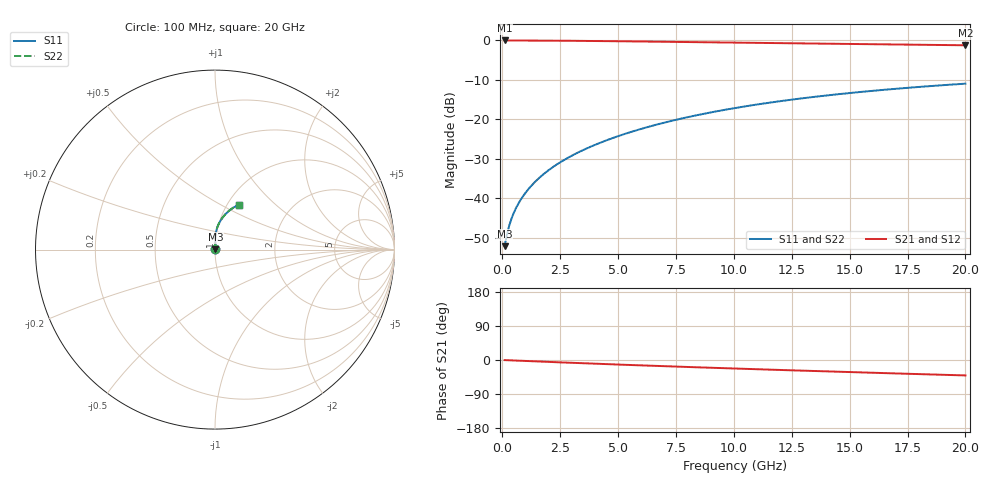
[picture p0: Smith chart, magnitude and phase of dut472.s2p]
! Touchstone file exported from HFSS 2024.1.0
!  File:  C:/UserFiles/LocalFiles/RDL_TSV_Batchsim/temp_RDL_bottom_472_1779686042.aedt
!  Generated:  01:16:21 PM May 25, 2026
!  Design:  RDL_bottom
!  Project:  temp_RDL_bottom_472_1779686042
!  Setup:  Setup1
!  Solution:  Sweep
! Variables:
!  dtsv = 10.80580581um
!  hbump = 3um
!  htsv = 99.78um
!  ldown = 641.67um
!  lrdl = 100um
!  p = 40
!  p1 = 45.92um
!  rhole = 1um
!  t = 450um
!  tdown = 4.73um
!  trdl = 3.915915916um
!  wdown = 26.33um
!  wrdl = 20um
# GHz S MA R 50.000000
! Terminal data exported
! Port[1] = RDL1_T1
! Port[2] = RDL1_T2
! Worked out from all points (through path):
!   200 points, 100 MHz to 20 GHz, reference 50 ohm
!   highest |S21| = -0.02 dB at 100 MHz (marker M1); lowest = -1.2 dB at 20 GHz (marker M2)
!   group delay of S21, straight-line fit = 5.58 ps
!   lowest |S11| = -52.2 dB at 100 MHz (marker M3), VSWR 1.00, Z = 50.2 + j0.137 ohm
!   |S11| at or under -10 dB: start of sweep to end of sweep
!   |S22| runs from -52.2 to -11.0 dB; largest |S21 - S12| = 2.1e-15
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0.1  0.002465 33.6  0.9979 -0.3  0.9979 -0.3  0.002465 33.6
! Gamma 0 0 0 0
! Port Impedance 50 0 50 0
0.2  0.003445 50.0  0.9977 -0.5  0.9977 -0.5  0.003445 50.0
0.3  0.004501 58.0  0.9975 -0.8  0.9975 -0.8  0.004501 58.0
0.4  0.005538 62.8  0.9973 -1.0  0.9973 -1.0  0.005537 62.8
0.5  0.006555 66.4  0.9971 -1.3  0.9971 -1.3  0.006554 66.4
0.6  0.007566 69.1  0.9969 -1.5  0.9969 -1.5  0.007565 69.2
0.8  0.009602 73.4  0.9965 -2.0  0.9965 -2.0  0.009601 73.4
1.1  0.01273 77.7  0.9959 -2.8  0.9959 -2.8  0.01273 77.7
1.3  0.01487 79.8  0.9954 -3.3  0.9954 -3.3  0.01487 79.8
1.6  0.01815 82.1  0.9945 -4.0  0.9945 -4.0  0.01815 82.1
2.1  0.0238 84.7  0.9926 -5.2  0.9926 -5.2  0.02381 84.8
2.7  0.03088 86.7  0.9898 -6.7  0.9898 -6.7  0.03089 86.8
3.5  0.04084 88.3  0.9854 -8.6  0.9854 -8.6  0.04086 88.3
4.2  0.05004 88.9  0.9809 -10.2  0.9809 -10.2  0.05007 88.9
5  0.06109 89.0  0.9753 -12.0  0.9753 -12.0  0.06113 89.0
6.8  0.08767 87.7  0.9619 -15.9  0.9619 -15.9  0.08776 87.8
8.4  0.1126 85.4  0.9496 -19.2  0.9496 -19.2  0.1128 85.5
10.1  0.1397 82.3  0.9367 -22.6  0.9367 -22.6  0.1399 82.4
11.7  0.165 79.1  0.9249 -25.7  0.9249 -25.7  0.1652 79.2
13.4  0.1913 75.5  0.9125 -28.9  0.9125 -28.9  0.1916 75.6
16.7  0.2395 68.7  0.8893 -34.9  0.8893 -34.9  0.2398 68.7
20  0.2828 62.1  0.867 -40.7  0.867 -40.7  0.2833 62.1
